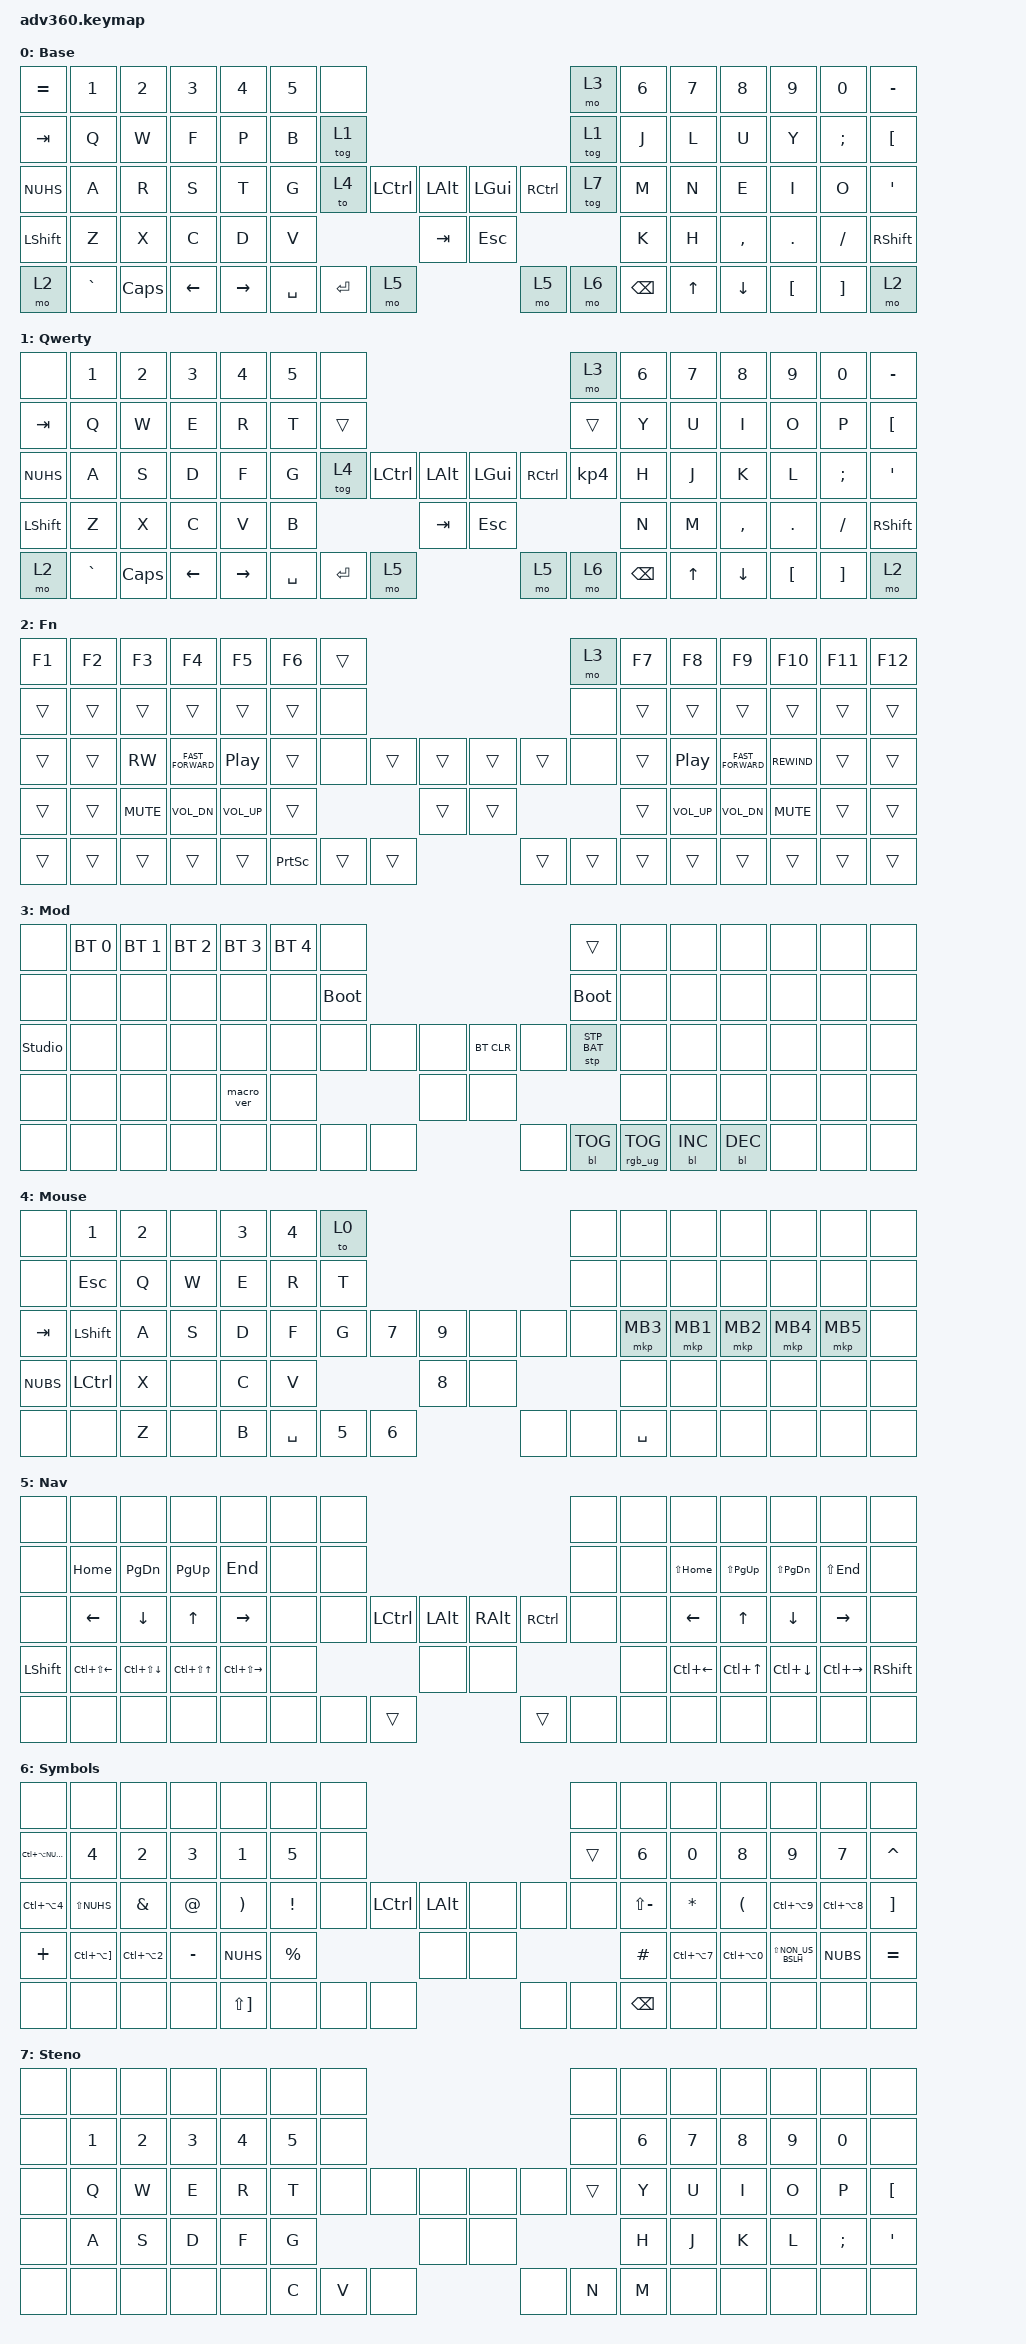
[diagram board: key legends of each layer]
#include <dt-bindings/zmk/stp.h>
#include <behaviors.dtsi>
#include <dt-bindings/zmk/backlight.h>
#include <dt-bindings/zmk/bt.h>
#include <dt-bindings/zmk/keys.h>
#include <dt-bindings/zmk/pointing.h>
#include <dt-bindings/zmk/rgb.h>

#define BASE      0
#define QWERTY    1
#define FN        2
#define MOD       3
#define MOUSE     4
#define NAV       5
#define SYMBOLS   6
#define STENO     7

/ {
    behaviors {
        #include "macros.dtsi"
#include "version.dtsi"

        hm: homerow_mods {
            compatible = "zmk,behavior-hold-tap";
            label = "HOMEROW_MODS";
            #binding-cells = <2>;
            tapping-term-ms = <200>;
            quick_tap_ms = <175>;
            flavor = "tap-preferred";
            bindings = <&kp>, <&kp>;
        };
    };

    keymap {
        compatible = "zmk,keymap";

        Base {
            display-name = "Base";
            bindings = <
&kp EQUAL  &kp N1     &kp N2    &kp N3    &kp N4     &kp N5  &none                                                                    &mo 3   &kp N6  &kp N7  &kp N8     &kp N9    &kp N0    &kp MINUS
&kp TAB    &kp Q      &kp W     &kp F     &kp P      &kp B   &tog 1                                                                   &tog 1  &kp J   &kp L   &kp U      &kp Y     &kp SEMI  &kp LBKT
&kp NUHS   &kp A      &kp R     &kp S     &kp T      &kp G   &to 4              &kp LCTRL  &kp LALT    &kp LGUI  &kp RCTRL            &tog 7  &kp M   &kp N   &kp E      &kp I     &kp O     &kp SQT
&kp LSHFT  &kp Z      &kp X     &kp C     &kp D      &kp V                                 &kp TAB     &kp ESC                                &kp K   &kp H   &kp COMMA  &kp DOT   &kp FSLH  &kp RSHFT
&mo 2      &kp GRAVE  &kp CAPS  &kp LEFT  &kp RIGHT                  &kp SPACE  &kp ENTER  &mo 5       &mo 5     &mo 6      &kp BSPC                  &kp UP  &kp DOWN   &kp LBKT  &kp RBKT  &mo 2
            >;
        };

        qwerty {
            display-name = "Qwerty";
            bindings = <
&none      &kp N1     &kp N2    &kp N3    &kp N4     &kp N5  &none                                                                    &mo 3      &kp N6  &kp N7  &kp N8     &kp N9    &kp N0    &kp MINUS
&kp TAB    &kp Q      &kp W     &kp E     &kp R      &kp T   &trans                                                                   &trans     &kp Y   &kp U   &kp I      &kp O     &kp P     &kp LBKT
&kp NUHS   &kp A      &kp S     &kp D     &kp F      &kp G   &tog 4             &kp LCTRL  &kp LALT    &kp LGUI  &kp RCTRL            &kp KP_N4  &kp H   &kp J   &kp K      &kp L     &kp SEMI  &kp SQT
&kp LSHFT  &kp Z      &kp X     &kp C     &kp V      &kp B                                 &kp TAB     &kp ESC                                   &kp N   &kp M   &kp COMMA  &kp DOT   &kp FSLH  &kp RSHFT
&mo 2      &kp GRAVE  &kp CAPS  &kp LEFT  &kp RIGHT                  &kp SPACE  &kp ENTER  &mo 5       &mo 5     &mo 6      &kp BSPC                     &kp UP  &kp DOWN   &kp LBKT  &kp RBKT  &mo 2
            >;
        };

        fn {
            display-name = "Fn";
            bindings = <
&kp F1  &kp F2  &kp F3      &kp F4              &kp F5        &kp F6  &trans                                                    &mo 3  &kp F7  &kp F8            &kp F9              &kp F10       &kp F11  &kp F12
&trans  &trans  &trans      &trans              &trans        &trans  &none                                                     &none  &trans  &trans            &trans              &trans        &trans   &trans
&trans  &trans  &kp C_RW    &kp C_FAST_FORWARD  &kp C_PP      &trans  &none           &trans  &trans    &trans  &trans          &none  &trans  &kp C_PLAY_PAUSE  &kp C_FAST_FORWARD  &kp C_REWIND  &trans   &trans
&trans  &trans  &kp C_MUTE  &kp C_VOL_DN        &kp C_VOL_UP  &trans                          &trans    &trans                         &trans  &kp C_VOL_UP      &kp C_VOL_DN        &kp C_MUTE    &trans   &trans
&trans  &trans  &trans      &trans              &trans                        &kp PSCRN  &trans  &trans    &trans  &trans  &trans                 &trans            &trans              &trans        &trans   &trans
            >;
        };

        mod {
            display-name = "Mod";
            bindings = <
&none           &bt BT_SEL 0  &bt BT_SEL 1  &bt BT_SEL 2  &bt BT_SEL 3  &bt BT_SEL 4  &none                                                                        &trans        &none  &none       &none       &none  &none  &none
&none           &none         &none         &none         &none         &none         &bootloader                                                                  &bootloader   &none  &none       &none       &none  &none  &none
&studio_unlock  &none         &none         &none         &none         &none         &none               &none  &none    &bt BT_CLR  &none                        &stp STP_BAT  &none  &none       &none       &none  &none  &none
&none           &none         &none         &none         &macro_ver    &none                                    &none    &none                                                  &none  &none       &none       &none  &none  &none
&none           &none         &none         &none         &none                                    &none  &none  &none    &none       &bl BL_TOG  &rgb_ug RGB_TOG                       &bl BL_INC  &bl BL_DEC  &none  &none  &none
            >;
        };

        gaming {
            display-name = "Mouse";
            bindings = <
&none     &kp N1     &kp N2  &none  &kp N3  &kp N4  &to 0                                                        &none  &none     &none     &none     &none     &none     &none
&none     &kp ESC    &kp Q   &kp W  &kp E   &kp R   &kp T                                                        &none  &none     &none     &none     &none     &none     &none
&kp TAB   &kp LSHFT  &kp A   &kp S  &kp D   &kp F   &kp G             &kp N7  &kp N9    &none  &none             &none  &mkp MB3  &mkp MB1  &mkp MB2  &mkp MB4  &mkp MB5  &none
&kp NUBS  &kp LCTRL  &kp X   &none  &kp C   &kp V                             &kp N8    &none                           &none     &none     &none     &none     &none     &none
&none     &none      &kp Z   &none  &kp B                  &kp SPACE  &kp N5  &kp N6    &none  &none  &kp SPACE                   &none     &none     &none     &none     &none
            >;
        };

        nav {
            display-name = "Nav";
            bindings = <
&none      &none             &none             &none           &none              &none  &none                                                            &none  &none  &none           &none          &none          &none            &none
&none      &kp HOME          &kp PG_DN         &kp PG_UP       &kp END            &none  &none                                                            &none  &none  &kp LS(HOME)    &kp LS(PG_UP)  &kp LS(PG_DN)  &kp LS(END)      &none
&none      &kp LEFT          &kp DOWN          &kp UP          &kp RIGHT          &none  &none         &kp LCTRL  &kp LALT    &kp RALT  &kp RCTRL         &none  &none  &kp LEFT_ARROW  &kp UP_ARROW   &kp DOWN       &kp RIGHT_ARROW  &none
&kp LSHFT  &kp LC(LS(LEFT))  &kp LC(LS(DOWN))  &kp LC(LS(UP))  &kp LC(LS(RIGHT))  &none                           &none       &none                              &none  &kp LC(LEFT)    &kp LC(UP)     &kp LC(DOWN)   &kp LC(RIGHT)    &kp RSHFT
&none      &none             &none             &none           &none                            &none  &none      &trans      &trans    &none      &none                &none           &none          &none          &none            &none
            >;
        };

        symbols {
            display-name = "Symbols";
            bindings = <
&none             &none             &none                 &none      &none         &none      &none                                                        &none   &none          &none           &none                 &none                &none           &none
&kp LC(LA(NUBS))  &kp N4            &kp N2                &kp N3     &kp N1        &kp N5     &none                                                        &trans  &kp N6         &kp N0          &kp N8                &kp N9               &kp N7          &kp CARET
&kp LC(LA(N4))    &kp LS(NUHS)      &kp AMPS              &kp AT     &kp RPAR      &kp EXCL   &none         &kp LCTRL  &kp LALT    &none  &none            &none   &kp LS(MINUS)  &kp STAR        &kp LEFT_PARENTHESIS  &kp LC(LA(N9))       &kp LC(LA(N8))  &kp RIGHT_BRACKET
&kp PLUS          &kp LC(LA(RBKT))  &kp LC(LA(NUMBER_2))  &kp MINUS  &kp NUHS      &kp PRCNT                           &none       &none                           &kp HASH       &kp LC(LA(N7))  &kp LC(LA(N0))        &kp LS(NON_US_BSLH)  &kp NUBS        &kp EQUAL
&none             &none             &none                 &none      &kp LS(RBKT)                    &none  &none      &none       &none  &none  &kp BSPC                         &none           &none                 &none                &none           &none
            >;
        };

        steno {
            display-name = "Steno";
            bindings = <
&none  &none   &none   &none   &none   &none   &none                                              &none   &none   &none   &none   &none   &none     &none
&none  &kp N1  &kp N2  &kp N3  &kp N4  &kp N5  &none                                              &none   &kp N6  &kp N7  &kp N8  &kp N9  &kp N0    &none
&none  &kp Q   &kp W   &kp E   &kp R   &kp T   &none         &none  &none    &none  &none         &trans  &kp Y   &kp U   &kp I   &kp O   &kp P     &kp LBKT
&none  &kp A   &kp S   &kp D   &kp F   &kp G                        &none    &none                        &kp H   &kp J   &kp K   &kp L   &kp SEMI  &kp APOS
&none  &none   &none   &none   &none                  &kp C  &kp V  &none    &none  &kp N  &kp M                  &none   &none   &none   &none     &none
            >;
        };
    };
};
